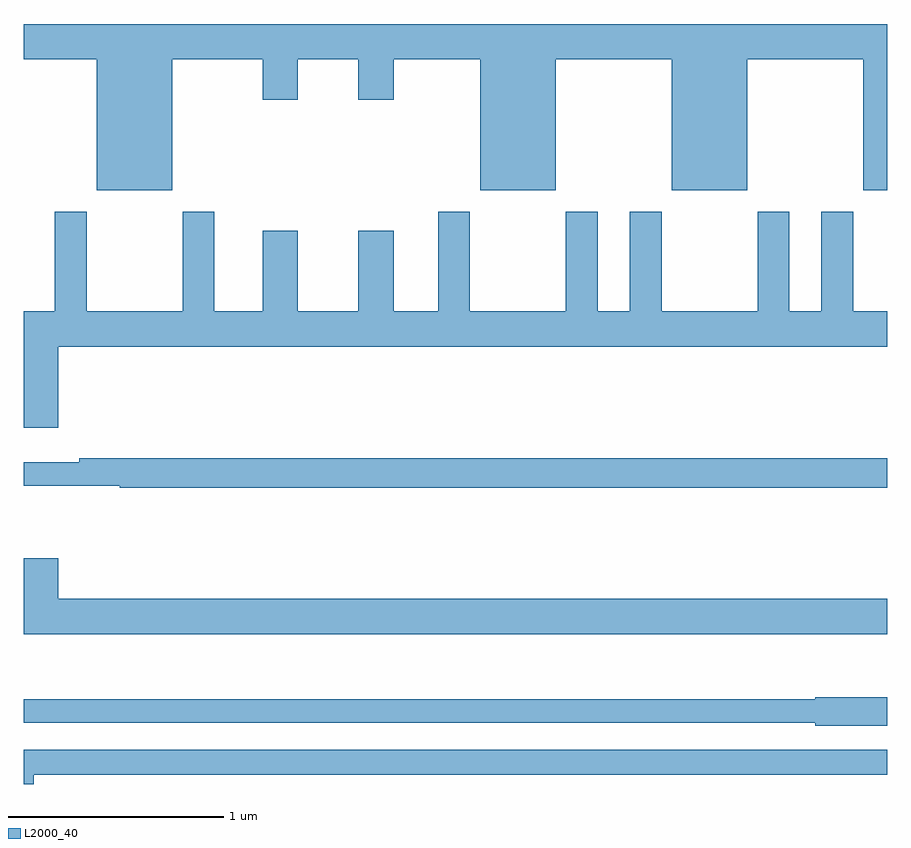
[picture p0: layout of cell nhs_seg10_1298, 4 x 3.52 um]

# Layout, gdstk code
import gdstk
lib = gdstk.Library(unit=1e-6, precision=1e-09)
def P(c, l, *ps):  # polygons
    for p in ps: c.add(gdstk.Polygon(p, *l))
L2000_40 = (2000, 40)

nhs_seg10_1298 = lib.new_cell('nhs_seg10_1298')
P(nhs_seg10_1298, L2000_40, [(177.688,1328.288),(178.106,1328.288),(178.106,1328.1),(178.27,1328.1),(178.27,1328.288),(178.55,1328.288),(178.55,1328.1),(178.714,1328.1),(178.714,1328.288),(179.114,1328.288),(179.114,1327.682),(179.464,1327.682),(179.464,1328.288),(180.002,1328.288),(180.002,1327.682),(180.352,1327.682),(180.352,1328.288),(180.89,1328.288),(180.89,1327.682),(181,1327.682),(181,1328.452),(177,1328.452),(177,1328.288),(177.338,1328.288),(177.338,1327.682),(177.688,1327.682)],
  [(177.16,1326.956),(181,1326.956),(181,1327.12),(180.843,1327.12),(180.843,1327.582),(180.695,1327.582),(180.695,1327.12),(180.547,1327.12),(180.547,1327.582),(180.4,1327.582),(180.4,1327.12),(179.955,1327.12),(179.955,1327.582),(179.807,1327.582),(179.807,1327.12),(179.659,1327.12),(179.659,1327.582),(179.512,1327.582),(179.512,1327.12),(179.067,1327.12),(179.067,1327.582),(178.919,1327.582),(178.919,1327.12),(178.714,1327.12),(178.714,1327.495),(178.55,1327.495),(178.55,1327.12),(178.27,1327.12),(178.27,1327.495),(178.106,1327.495),(178.106,1327.12),(177.883,1327.12),(177.883,1327.582),(177.736,1327.582),(177.736,1327.12),(177.291,1327.12),(177.291,1327.582),(177.143,1327.582),(177.143,1327.12),(177,1327.12),(177,1326.582),(177.16,1326.582)],
  [(181,1326.44),(177.256,1326.44),(177.256,1326.421),(177,1326.421),(177,1326.312),(177.445,1326.312),(177.445,1326.304),(181,1326.304)],
  [(181,1325.788),(177.16,1325.788),(177.16,1325.977),(177,1325.977),(177,1325.624),(181,1325.624)],
  [(181,1325.331),(180.666,1325.331),(180.666,1325.323),(177,1325.323),(177,1325.214),(180.666,1325.214),(180.666,1325.201),(181,1325.201)],
  [(177.046,1324.972),(181,1324.972),(181,1325.088),(177,1325.088),(177,1324.93),(177.046,1324.93)])

lib.write_gds('nhs_seg10_1298.gds')
